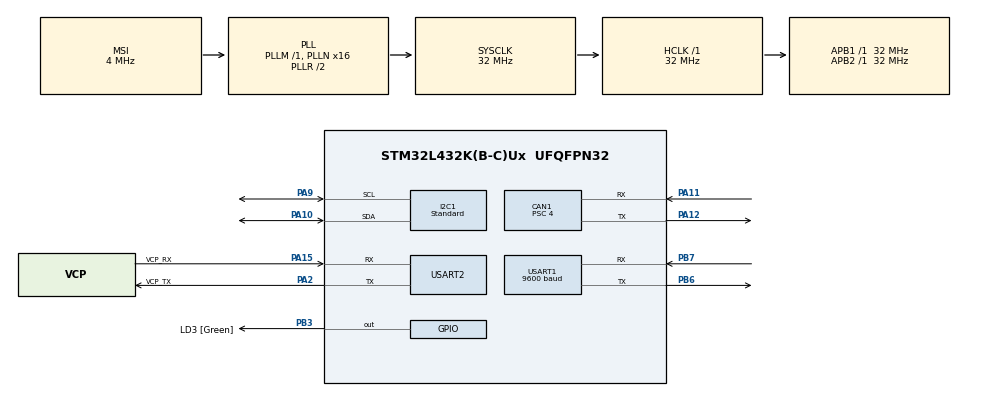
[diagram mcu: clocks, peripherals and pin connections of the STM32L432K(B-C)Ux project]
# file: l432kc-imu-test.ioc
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CAN1.BS1=CAN_BS1_13TQ
CAN1.BS2=CAN_BS2_2TQ
CAN1.CalculateBaudRate=500000
CAN1.CalculateTimeBit=2000
CAN1.CalculateTimeQuantum=125.0
CAN1.Prescaler=4
I2C1.I2C_Speed_Mode=I2C_Standard
I2C1.Timing=0x00707CBB
Mcu.Family=STM32L4
Mcu.Name=STM32L432K(B-C)Ux
Mcu.Package=UFQFPN32
NVIC.CAN1_RX0_IRQn=true\:0\:0\:false\:false\:true\:true\:true\:true
NVIC.CAN1_RX1_IRQn=true\:0\:0\:false\:false\:true\:true\:true\:true
NVIC.CAN1_TX_IRQn=true\:0\:0\:false\:false\:true\:true\:true\:true
NVIC.I2C1_ER_IRQn=true\:0\:0\:false\:false\:true\:true\:true\:true
NVIC.I2C1_EV_IRQn=true\:0\:0\:false\:false\:true\:true\:true\:true
NVIC.PriorityGroup=NVIC_PRIORITYGROUP_4
NVIC.USART1_IRQn=true\:0\:0\:false\:false\:true\:true\:true\:true
NVIC.USART2_IRQn=true\:0\:0\:false\:false\:true\:true\:true\:true
PA0.GPIO_Label=MCO [High speed clock in]
PA0.Mode=HSE-External-Clock-Source-for-LittleOrca
PA0.Signal=RCC_CK_IN
PA10.Mode=I2C
PA10.Signal=I2C1_SDA
PA11.Mode=CAN_Activate
PA11.Signal=CAN1_RX
PA12.Mode=CAN_Activate
PA12.Signal=CAN1_TX
PA13\ (JTMS-SWDIO).GPIO_Label=SWDIO
PA13\ (JTMS-SWDIO).Mode=Serial_Wire
PA13\ (JTMS-SWDIO).Signal=SYS_JTMS-SWDIO
PA14\ (JTCK-SWCLK).GPIO_Label=SWCLK
PA14\ (JTCK-SWCLK).Mode=Serial_Wire
PA14\ (JTCK-SWCLK).Signal=SYS_JTCK-SWCLK
PA15\ (JTDI).GPIO_Label=VCP_RX
PA15\ (JTDI).Mode=Asynchronous
PA15\ (JTDI).Signal=USART2_RX
PA2.GPIO_Label=VCP_TX
PA2.Mode=Asynchronous
PA2.Signal=USART2_TX
PA9.Mode=I2C
PA9.Signal=I2C1_SCL
PB3\ (JTDO-TRACESWO).GPIO_Label=LD3 [Green]
PB3\ (JTDO-TRACESWO).Signal=GPIO_Output
PB6.Mode=Asynchronous
PB6.Signal=USART1_TX
PB7.Mode=Asynchronous
PB7.Signal=USART1_RX
PC14-OSC32_IN\ (PC14).Mode=LSE-External-Oscillator
PC14-OSC32_IN\ (PC14).Signal=RCC_OSC32_IN
PC15-OSC32_OUT\ (PC15).Mode=LSE-External-Oscillator
PC15-OSC32_OUT\ (PC15).Signal=RCC_OSC32_OUT
ProjectManager.HeapSize=0x200
ProjectManager.StackSize=0x400
ProjectManager.TargetToolchain=Makefile
RCC.AHBFreq_Value=32000000
RCC.APB1Freq_Value=32000000
RCC.APB1TimFreq_Value=32000000
RCC.APB2Freq_Value=32000000
RCC.APB2TimFreq_Value=32000000
RCC.CortexFreq_Value=32000000
RCC.HCLKFreq_Value=32000000
RCC.HSE_VALUE=8000000
RCC.HSI16_VALUE=16000000
RCC.HSI48_VALUE=48000000
RCC.HSI_VALUE=16000000
RCC.MSI_VALUE=4000000
RCC.PLLMUL=RCC_PLLMUL_4
RCC.PLLN=16
RCC.SYSCLKFreq_VALUE=32000000
RCC.SYSCLKSource=RCC_SYSCLKSOURCE_PLLCLK
RCC.VCOOutputFreq_Value=64000000
USART1.BaudRate=9600
USART1.VirtualMode-Asynchronous=VM_ASYNC
USART2.VirtualMode-Asynchronous=VM_ASYNC
board=NUCLEO-L432KC

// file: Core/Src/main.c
/* USER CODE BEGIN Header */
/**
  ******************************************************************************
  * @file           : main.c
  * @brief          : Main program body
  ******************************************************************************
  * @attention
  *
  * Copyright (c) 2023 STMicroelectronics.
  * All rights reserved.
  *
  * This software is licensed under terms that can be found in the LICENSE file
  * in the root directory of this software component.
  * If no LICENSE file comes with this software, it is provided AS-IS.
  *
  ******************************************************************************
  */
/* USER CODE END Header */
#include "main.h"

/* USER CODE BEGIN Includes */
#include <stdint.h>
#include <stdio.h>

#include "can.h"
#include "lsm6ds.h"
#include "utils.h"
#include "telemetry.pb.h"
#include "proto_utils.h"
#include "gps.h"
/* USER CODE END Includes */

CAN_HandleTypeDef hcan1;

I2C_HandleTypeDef hi2c1;

UART_HandleTypeDef huart1;
UART_HandleTypeDef huart2;

void SystemClock_Config(void);
static void MX_GPIO_Init(void);
static void MX_I2C1_Init(void);
static void MX_USART1_UART_Init(void);
static void MX_USART2_UART_Init(void);
static void MX_CAN1_Init(void);

/* USER CODE BEGIN 0 */
void HAL_UART_RxCpltCallback(UART_HandleTypeDef *huart)
{
  HAL_StatusTypeDef ret = HAL_OK;
  if (huart->Instance == USART1) {
    ret = GPS_UARTRxCpltHandler(huart);
  }
  if (ret != HAL_OK) Error_Handler();
}

void HAL_CAN_RxFifo0MsgPendingCallback(CAN_HandleTypeDef *hcan)
{
  CAN_RxHeaderTypeDef RxHeader;
  uint8_t RxData[8];
  /* Get RX message */
  if (HAL_CAN_GetRxMessage(hcan, CAN_RX_FIFO0, &RxHeader, RxData) != HAL_OK)
  {
    /* Reception Error */
    Error_Handler();
  }
}
/* USER CODE END 0 */

int main(void)
{
  /* USER CODE BEGIN 1 */
  HAL_StatusTypeDef ret;
  imu_data_t imu_data = imu_data_t_init_default;
  /* USER CODE END 1 */

  /* MCU Configuration--------------------------------------------------------*/

  /* Reset of all peripherals, Initializes the Flash interface and the Systick. */
  HAL_Init();

  /* Configure the system clock */
  SystemClock_Config();

  /* Initialize all configured peripherals */
  MX_GPIO_Init();
  MX_I2C1_Init();
  MX_USART1_UART_Init();
  MX_USART2_UART_Init();
  MX_CAN1_Init();
  /* USER CODE BEGIN 2 */
  HAL_Delay(5000);
  UTIL_Setup(&huart2);
  Proto_Setup(&huart2);

  ret = HAL_OK;
  ret |= LSM6DS_Connect(&hi2c1);
  ret |= LSM6DS_SetAccelDataRate(LSM6DS_RATE_12_5_HZ);
  ret |= LSM6DS_SetAccelRange(LSM6DSO32_ACCEL_RANGE_4_G);
  ret |= LSM6DS_SetGyroDataRate(LSM6DS_RATE_12_5_HZ);
  ret |= LSM6DS_SetGyroRange(LSM6DS_GYRO_RANGE_125_DPS);
  ret |= LSM6DS_SetupFifo();

  imu_data.status = (HAL_status_e)ret;
  ret = Proto_SendIMUData(&imu_data);
  /* USER CODE END 2 */

  /* Infinite loop */
  while (1)
  {

  }
}

void SystemClock_Config(void)
{
  RCC_OscInitTypeDef RCC_OscInitStruct = {0};
  RCC_ClkInitTypeDef RCC_ClkInitStruct = {0};

  /** Configure the main internal regulator output voltage
  */
  if (HAL_PWREx_ControlVoltageScaling(PWR_REGULATOR_VOLTAGE_SCALE1) != HAL_OK)
  {
    Error_Handler();
  }

  /** Configure LSE Drive Capability
  */
  HAL_PWR_EnableBkUpAccess();
  __HAL_RCC_LSEDRIVE_CONFIG(RCC_LSEDRIVE_LOW);

  /** Initializes the RCC Oscillators according to the specified parameters
  * in the RCC_OscInitTypeDef structure.
  */
  RCC_OscInitStruct.OscillatorType = RCC_OSCILLATORTYPE_LSE|RCC_OSCILLATORTYPE_MSI;
  RCC_OscInitStruct.LSEState = RCC_LSE_ON;
  RCC_OscInitStruct.MSIState = RCC_MSI_ON;
  RCC_OscInitStruct.MSICalibrationValue = 0;
  RCC_OscInitStruct.MSIClockRange = RCC_MSIRANGE_6;
  RCC_OscInitStruct.PLL.PLLState = RCC_PLL_ON;
  RCC_OscInitStruct.PLL.PLLSource = RCC_PLLSOURCE_MSI;
  RCC_OscInitStruct.PLL.PLLM = 1;
  RCC_OscInitStruct.PLL.PLLN = 16;
  RCC_OscInitStruct.PLL.PLLP = RCC_PLLP_DIV7;
  RCC_OscInitStruct.PLL.PLLQ = RCC_PLLQ_DIV2;
  RCC_OscInitStruct.PLL.PLLR = RCC_PLLR_DIV2;
  if (HAL_RCC_OscConfig(&RCC_OscInitStruct) != HAL_OK)
  {
    Error_Handler();
  }

  /** Initializes the CPU, AHB and APB buses clocks
  */
  RCC_ClkInitStruct.ClockType = RCC_CLOCKTYPE_HCLK|RCC_CLOCKTYPE_SYSCLK
                              |RCC_CLOCKTYPE_PCLK1|RCC_CLOCKTYPE_PCLK2;
  RCC_ClkInitStruct.SYSCLKSource = RCC_SYSCLKSOURCE_PLLCLK;
  RCC_ClkInitStruct.AHBCLKDivider = RCC_SYSCLK_DIV1;
  RCC_ClkInitStruct.APB1CLKDivider = RCC_HCLK_DIV1;
  RCC_ClkInitStruct.APB2CLKDivider = RCC_HCLK_DIV1;

  if (HAL_RCC_ClockConfig(&RCC_ClkInitStruct, FLASH_LATENCY_1) != HAL_OK)
  {
    Error_Handler();
  }

  /** Enable MSI Auto calibration
  */
  HAL_RCCEx_EnableMSIPLLMode();
}

static void MX_CAN1_Init(void)
{

  hcan1.Instance = CAN1;
  hcan1.Init.Prescaler = 4;
  hcan1.Init.Mode = CAN_MODE_NORMAL;
  hcan1.Init.SyncJumpWidth = CAN_SJW_1TQ;
  hcan1.Init.TimeSeg1 = CAN_BS1_13TQ;
  hcan1.Init.TimeSeg2 = CAN_BS2_2TQ;
  hcan1.Init.TimeTriggeredMode = DISABLE;
  hcan1.Init.AutoBusOff = DISABLE;
  hcan1.Init.AutoWakeUp = DISABLE;
  hcan1.Init.AutoRetransmission = DISABLE;
  hcan1.Init.ReceiveFifoLocked = DISABLE;
  hcan1.Init.TransmitFifoPriority = DISABLE;
  if (HAL_CAN_Init(&hcan1) != HAL_OK)
  {
    Error_Handler();
  }

}

static void MX_I2C1_Init(void)
{

  hi2c1.Instance = I2C1;
  hi2c1.Init.Timing = 0x00707CBB;
  hi2c1.Init.OwnAddress1 = 0;
  hi2c1.Init.AddressingMode = I2C_ADDRESSINGMODE_7BIT;
  hi2c1.Init.DualAddressMode = I2C_DUALADDRESS_DISABLE;
  hi2c1.Init.OwnAddress2 = 0;
  hi2c1.Init.OwnAddress2Masks = I2C_OA2_NOMASK;
  hi2c1.Init.GeneralCallMode = I2C_GENERALCALL_DISABLE;
  hi2c1.Init.NoStretchMode = I2C_NOSTRETCH_DISABLE;
  if (HAL_I2C_Init(&hi2c1) != HAL_OK)
  {
    Error_Handler();
  }

  /** Configure Analogue filter
  */
  if (HAL_I2CEx_ConfigAnalogFilter(&hi2c1, I2C_ANALOGFILTER_ENABLE) != HAL_OK)
  {
    Error_Handler();
  }

  /** Configure Digital filter
  */
  if (HAL_I2CEx_ConfigDigitalFilter(&hi2c1, 0) != HAL_OK)
  {
    Error_Handler();
  }

}

static void MX_USART1_UART_Init(void)
{

  huart1.Instance = USART1;
  huart1.Init.BaudRate = 9600;
  huart1.Init.WordLength = UART_WORDLENGTH_8B;
  huart1.Init.StopBits = UART_STOPBITS_1;
  huart1.Init.Parity = UART_PARITY_NONE;
  huart1.Init.Mode = UART_MODE_TX_RX;
  huart1.Init.HwFlowCtl = UART_HWCONTROL_NONE;
  huart1.Init.OverSampling = UART_OVERSAMPLING_16;
  huart1.Init.OneBitSampling = UART_ONE_BIT_SAMPLE_DISABLE;
  huart1.AdvancedInit.AdvFeatureInit = UART_ADVFEATURE_NO_INIT;
  if (HAL_UART_Init(&huart1) != HAL_OK)
  {
    Error_Handler();
  }

}

static void MX_USART2_UART_Init(void)
{

  huart2.Instance = USART2;
  huart2.Init.BaudRate = 115200;
  huart2.Init.WordLength = UART_WORDLENGTH_8B;
  huart2.Init.StopBits = UART_STOPBITS_1;
  huart2.Init.Parity = UART_PARITY_NONE;
  huart2.Init.Mode = UART_MODE_TX_RX;
  huart2.Init.HwFlowCtl = UART_HWCONTROL_NONE;
  huart2.Init.OverSampling = UART_OVERSAMPLING_16;
  huart2.Init.OneBitSampling = UART_ONE_BIT_SAMPLE_DISABLE;
  huart2.AdvancedInit.AdvFeatureInit = UART_ADVFEATURE_NO_INIT;
  if (HAL_UART_Init(&huart2) != HAL_OK)
  {
    Error_Handler();
  }

}

static void MX_GPIO_Init(void)
{
  GPIO_InitTypeDef GPIO_InitStruct = {0};

  /* GPIO Ports Clock Enable */
  __HAL_RCC_GPIOC_CLK_ENABLE();
  __HAL_RCC_GPIOA_CLK_ENABLE();
  __HAL_RCC_GPIOB_CLK_ENABLE();

  /*Configure GPIO pin Output Level */
  HAL_GPIO_WritePin(LD3_GPIO_Port, LD3_Pin, GPIO_PIN_RESET);

  /*Configure GPIO pin : LD3_Pin */
  GPIO_InitStruct.Pin = LD3_Pin;
  GPIO_InitStruct.Mode = GPIO_MODE_OUTPUT_PP;
  GPIO_InitStruct.Pull = GPIO_NOPULL;
  GPIO_InitStruct.Speed = GPIO_SPEED_FREQ_LOW;
  HAL_GPIO_Init(LD3_GPIO_Port, &GPIO_InitStruct);

}

void Error_Handler(void)
{
  __disable_irq();
  while (1)
  {
  }
}
